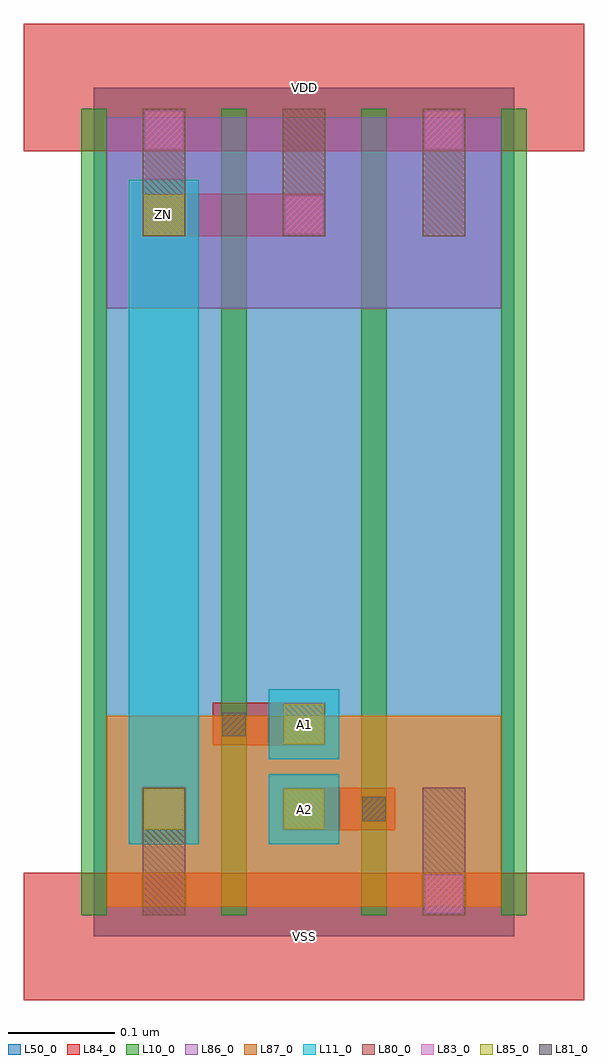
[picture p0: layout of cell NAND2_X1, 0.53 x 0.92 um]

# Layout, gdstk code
import gdstk
lib = gdstk.Library(unit=1e-6, precision=1e-09)
def R(c, l, rs):  # rectangles x0, y0, x1, y1
    for r in rs: c.add(gdstk.rectangle(r[:2], r[2:], *l))
def A(c, l, x, y, w, h, nx, ny, dx, dy):  # array of equal rectangles
    R(c, l, [(x+i*dx, y+j*dy, x+i*dx+w, y+j*dy+h) for i in range(nx) for j in range(ny)])
L10_0 = (10, 0)
L11_0 = (11, 0)
L50_0 = (50, 0)
L80_0 = (80, 0)
L81_0 = (81, 0)
L83_0 = (83, 0)
L84_0 = (84, 0)
L85_0 = (85, 0)
L86_0 = (86, 0)
L87_0 = (87, 0)

nand2_x1 = lib.new_cell('NAND2_X1')
A(nand2_x1, L10_0, -0.012, 0.02, 0.024, 0.76, 4, 1, 0.132, 0)
R(nand2_x1, L11_0, [(0.033,0.087,0.099,0.713), (0.165,0.087,0.231,0.153), (0.165,0.167,0.231,0.233)])
R(nand2_x1, L50_0, [(0,0,0.396,0.8)])
A(nand2_x1, L80_0, 0.046, 0.66, 0.04, 0.12, 3, 1, 0.132, 0)
R(nand2_x1, L80_0, [(0.046,0.02,0.086,0.14), (0.31,0.02,0.35,0.14)])
R(nand2_x1, L81_0, [(0.253,0.109,0.275,0.131), (0.121,0.189,0.143,0.211)])
R(nand2_x1, L83_0, [(0.312,0.022,0.348,0.058), (0.048,0.102,0.084,0.138), (0.18,0.662,0.216,0.698), (0.048,0.742,0.084,0.778), (0.312,0.742,0.348,0.778)])
R(nand2_x1, L84_0, [(-0.066,-0.06,0.462,0.06), (0.046,0.1,0.086,0.14), (0.178,0.1,0.284,0.14), (0.112,0.18,0.218,0.22), (0.046,0.66,0.218,0.7), (-0.066,0.74,0.462,0.86)])
R(nand2_x1, L85_0, [(0.047,0.101,0.085,0.139), (0.179,0.101,0.217,0.139), (0.179,0.181,0.217,0.219), (0.047,0.661,0.085,0.699)])
R(nand2_x1, L86_0, [(0.012,0.592,0.384,0.772)])
R(nand2_x1, L87_0, [(0.012,0.028,0.384,0.208)])
nand2_x1.add(gdstk.Label('VDD', (0.198,0.8), layer=88, texttype=0))
nand2_x1.add(gdstk.Label('VSS', (0.198,0), layer=88, texttype=0))
nand2_x1.add(gdstk.Label('ZN', (0.066,0.68), layer=31, texttype=0))
nand2_x1.add(gdstk.Label('A2', (0.198,0.12), layer=31, texttype=0))
nand2_x1.add(gdstk.Label('A1', (0.198,0.2), layer=31, texttype=0))

lib.write_gds('NAND2_X1.gds')
